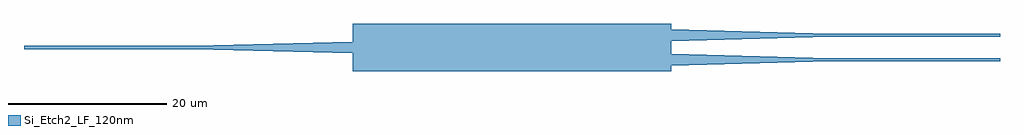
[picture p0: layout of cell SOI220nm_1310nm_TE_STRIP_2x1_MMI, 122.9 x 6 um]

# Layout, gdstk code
import gdstk
lib = gdstk.Library(unit=1e-6, precision=1e-09)
def R(c, l, rs):  # rectangles x0, y0, x1, y1
    for r in rs: c.add(gdstk.rectangle(r[:2], r[2:], *l))
def P(c, l, *ps):  # polygons
    for p in ps: c.add(gdstk.Polygon(p, *l))
Si_Etch2_LF_120nm = (3, 0)

soi220nm_1310nm_te_strip = lib.new_cell('SOI220nm_1310nm_TE_STRIP_2x1_MMI')
R(soi220nm_1310nm_te_strip, Si_Etch2_LF_120nm, [(41.4,-3,81.5,3), (101.5,-1.725,122.9,-1.325), (0,-0.2,21.4,0.2), (101.5,1.325,122.9,1.725)])
P(soi220nm_1310nm_te_strip, Si_Etch2_LF_120nm, [(81.5,-2.275),(81.5,-0.775),(101.5,-1.325),(101.5,-1.725)],
  [(81.5,0.775),(81.5,2.275),(101.5,1.725),(101.5,1.325)],
  [(41.4,-0.75),(21.4,-0.2),(21.4,0.2),(41.4,0.75)])

lib.write_gds('SOI220nm_1310nm_TE_STRIP_2x1_MMI.gds')
